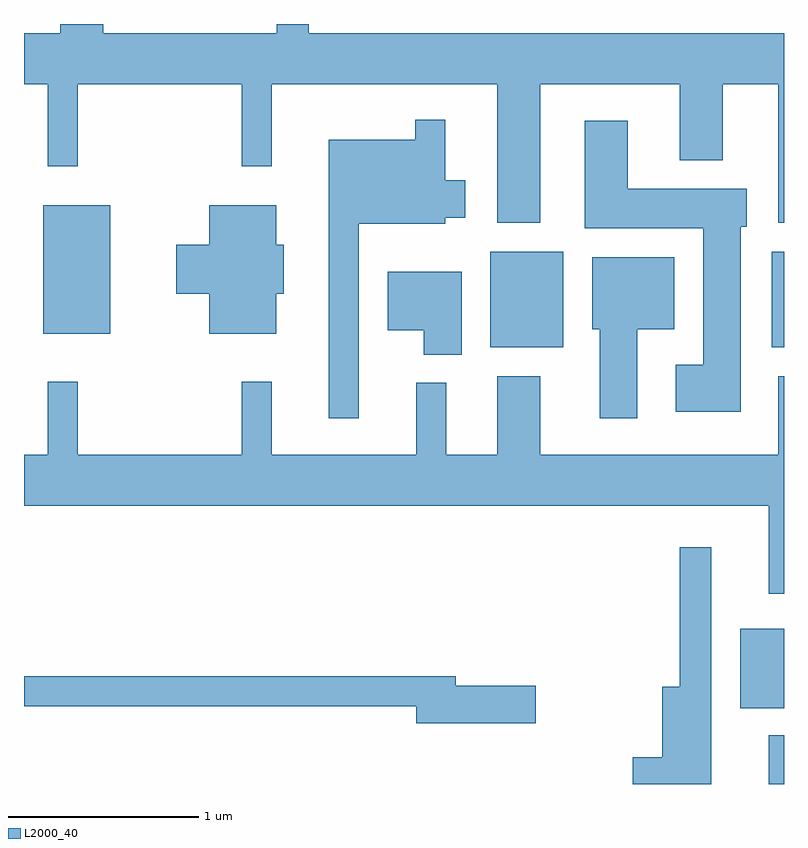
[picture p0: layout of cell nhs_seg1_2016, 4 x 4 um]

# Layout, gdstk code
import gdstk
lib = gdstk.Library(unit=1e-6, precision=1e-09)
def R(c, l, rs):  # rectangles x0, y0, x1, y1
    for r in rs: c.add(gdstk.rectangle(r[:2], r[2:], *l))
def P(c, l, *ps):  # polygons
    for p in ps: c.add(gdstk.Polygon(p, *l))
L2000_40 = (2000, 40)

nhs_seg1_2016 = lib.new_cell('nhs_seg1_2016')
R(nhs_seg1_2016, L2000_40, [(251.531,853.712,251.611,853.968), (251.381,854.111,251.611,854.529), (250.066,856.011,250.449,856.514), (251.546,856.011,251.611,856.514), (247.711,856.081,248.064,856.759)])
P(nhs_seg1_2016, L2000_40, [(250.329,857.396),(251.061,857.396),(251.061,856.996),(251.289,856.996),(251.289,857.396),(251.581,857.396),(251.581,856.666),(251.611,856.666),(251.611,857.664),(249.109,857.664),(249.109,857.712),(248.941,857.712),(248.941,857.664),(248.029,857.664),(248.029,857.712),(247.801,857.712),(247.801,857.664),(247.611,857.664),(247.611,857.396),(247.736,857.396),(247.736,856.963),(247.894,856.963),(247.894,857.396),(248.756,857.396),(248.756,856.963),(248.914,856.963),(248.914,857.396),(250.101,857.396),(250.101,856.666),(250.329,856.666)],
  [(249.374,856.661),(249.829,856.661),(249.829,856.691),(249.934,856.691),(249.934,856.889),(249.829,856.889),(249.829,857.208),(249.671,857.208),(249.671,857.104),(249.216,857.104),(249.216,855.638),(249.374,855.638)],
  [(251.384,856.646),(251.414,856.646),(251.414,856.844),(250.789,856.844),(250.789,857.204),(250.561,857.204),(250.561,856.636),(251.186,856.636),(251.186,855.919),(251.041,855.919),(251.041,855.671),(251.384,855.671)],
  [(248.939,856.291),(248.979,856.291),(248.979,856.549),(248.939,856.549),(248.939,856.759),(248.586,856.759),(248.586,856.549),(248.411,856.549),(248.411,856.291),(248.586,856.291),(248.586,856.081),(248.939,856.081)],
  [(250.839,856.106),(251.034,856.106),(251.034,856.484),(250.601,856.484),(250.601,856.106),(250.641,856.106),(250.641,855.636),(250.839,855.636)],
  [(249.914,856.409),(249.526,856.409),(249.526,856.101),(249.716,856.101),(249.716,855.971),(249.914,855.971)],
  [(251.611,855.859),(251.581,855.859),(251.581,855.444),(250.329,855.444),(250.329,855.859),(250.101,855.859),(250.101,855.444),(249.834,855.444),(249.834,855.823),(249.676,855.823),(249.676,855.444),(248.914,855.444),(248.914,855.828),(248.756,855.828),(248.756,855.444),(247.894,855.444),(247.894,855.828),(247.736,855.828),(247.736,855.444),(247.611,855.444),(247.611,855.176),(251.531,855.176),(251.531,854.713),(251.611,854.713)],
  [(251.229,854.958),(251.061,854.958),(251.061,854.224),(250.971,854.224),(250.971,853.854),(250.816,853.854),(250.816,853.712),(251.229,853.712)],
  [(250.304,854.229),(249.884,854.229),(249.884,854.279),(247.611,854.279),(247.611,854.121),(249.676,854.121),(249.676,854.031),(250.304,854.031)])

lib.write_gds('nhs_seg1_2016.gds')
